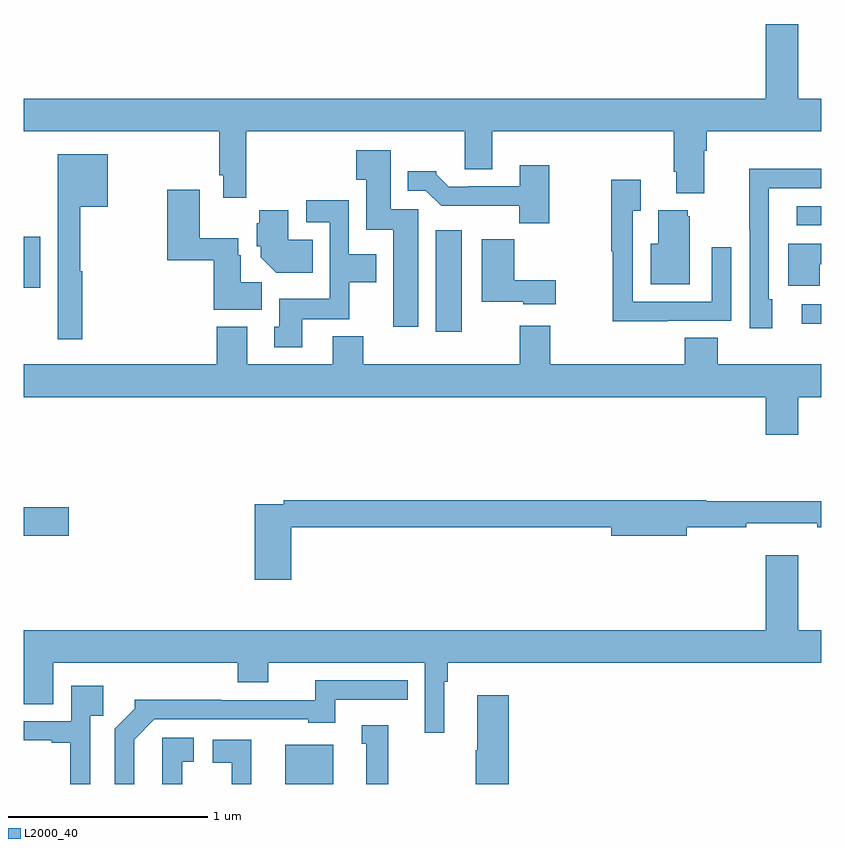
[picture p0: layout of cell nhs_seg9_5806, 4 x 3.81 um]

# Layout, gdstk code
import gdstk
lib = gdstk.Library(unit=1e-6, precision=1e-09)
def R(c, l, rs):  # rectangles x0, y0, x1, y1
    for r in rs: c.add(gdstk.rectangle(r[:2], r[2:], *l))
def P(c, l, *ps):  # polygons
    for p in ps: c.add(gdstk.Polygon(p, *l))
L2000_40 = (2000, 40)

nhs_seg9_5806 = lib.new_cell('nhs_seg9_5806')
R(nhs_seg9_5806, L2000_40, [(450.311,1174.5,450.553,1174.696), (449,1175.746,449.227,1175.888), (451.067,1176.768,451.198,1177.276), (452.901,1176.809,453,1176.906), (449,1176.989,449.083,1177.243), (452.877,1177.302,453,1177.398)])
P(nhs_seg9_5806, L2000_40, [(450.116,1177.772),(451.211,1177.772),(451.211,1177.582),(451.351,1177.582),(451.351,1177.772),(452.261,1177.772),(452.261,1177.57),(452.273,1177.57),(452.273,1177.463),(452.413,1177.463),(452.413,1177.676),(452.426,1177.676),(452.426,1177.772),(453,1177.772),(453,1177.936),(452.884,1177.936),(452.884,1178.311),(452.72,1178.311),(452.72,1177.936),(449,1177.936),(449,1177.772),(449.98,1177.772),(449.98,1177.552),(450,1177.552),(450,1177.44),(450.116,1177.44)],
  [(450.979,1177.383),(450.841,1177.383),(450.841,1177.678),(450.668,1177.678),(450.668,1177.531),(450.719,1177.531),(450.719,1177.28),(450.854,1177.28),(450.854,1176.792),(450.979,1176.792)],
  [(449.293,1177.07),(449.285,1177.07),(449.285,1177.394),(449.422,1177.394),(449.422,1177.657),(449.171,1177.657),(449.171,1176.729),(449.293,1176.729)],
  [(451.635,1177.603),(451.487,1177.603),(451.487,1177.497),(451.231,1177.497),(451.231,1177.494),(451.132,1177.494),(451.068,1177.558),(451.068,1177.573),(450.926,1177.573),(450.926,1177.476),(451.017,1177.476),(451.093,1177.4),(451.485,1177.4),(451.485,1177.313),(451.635,1177.313)],
  [(452.755,1176.93),(452.736,1176.93),(452.736,1177.234),(452.737,1177.234),(452.737,1177.488),(453,1177.488),(453,1177.586),(452.638,1177.586),(452.638,1177.279),(452.64,1177.279),(452.64,1176.786),(452.755,1176.786)],
  [(452.231,1176.822),(452.547,1176.822),(452.547,1177.192),(452.451,1177.192),(452.451,1176.918),(452.055,1176.918),(452.055,1177.375),(452.095,1177.375),(452.095,1177.531),(451.947,1177.531),(451.947,1177.172),(451.954,1177.172),(451.954,1176.821),(452.231,1176.821)],
  [(450.193,1177.016),(450.088,1177.016),(450.088,1177.152),(450.076,1177.152),(450.076,1177.237),(449.884,1177.237),(449.884,1177.48),(449.719,1177.48),(449.719,1177.127),(449.954,1177.127),(449.954,1176.878),(450.193,1176.878)],
  [(450.397,1176.83),(450.633,1176.83),(450.633,1177.016),(450.769,1177.016),(450.769,1177.156),(450.63,1177.156),(450.63,1177.426),(450.417,1177.426),(450.417,1177.317),(450.534,1177.317),(450.534,1176.934),(450.281,1176.934),(450.281,1176.792),(450.257,1176.792),(450.257,1176.69),(450.397,1176.69)],
  [(450.449,1177.228),(450.328,1177.228),(450.328,1177.378),(450.181,1177.378),(450.181,1177.311),(450.17,1177.311),(450.17,1177.197),(450.188,1177.197),(450.188,1177.142),(450.266,1177.064),(450.449,1177.064)],
  [(452.341,1177.347),(452.33,1177.347),(452.33,1177.378),(452.183,1177.378),(452.183,1177.21),(452.144,1177.21),(452.144,1177.007),(452.341,1177.007)],
  [(451.669,1177.027),(451.46,1177.027),(451.46,1177.231),(451.298,1177.231),(451.298,1176.917),(451.506,1176.917),(451.506,1176.905),(451.669,1176.905)],
  [(452.991,1177.106),(453,1177.106),(453,1177.21),(452.834,1177.21),(452.834,1176.998),(452.991,1176.998)],
  [(452.884,1176.44),(453,1176.44),(453,1176.604),(452.48,1176.604),(452.48,1176.737),(452.315,1176.737),(452.315,1176.604),(451.64,1176.604),(451.64,1176.799),(451.487,1176.799),(451.487,1176.604),(450.704,1176.604),(450.704,1176.745),(450.551,1176.745),(450.551,1176.604),(450.121,1176.604),(450.121,1176.793),(449.969,1176.793),(449.969,1176.604),(449,1176.604),(449,1176.44),(452.72,1176.44),(452.72,1176.252),(452.884,1176.252)],
  [(450.341,1175.788),(451.946,1175.788),(451.946,1175.746),(452.326,1175.746),(452.326,1175.788),(452.624,1175.788),(452.624,1175.807),(452.98,1175.807),(452.98,1175.788),(453,1175.788),(453,1175.917),(452.422,1175.917),(452.422,1175.924),(450.304,1175.924),(450.304,1175.904),(450.158,1175.904),(450.158,1175.523),(450.341,1175.523)],
  [(451.108,1175.012),(451.127,1175.012),(451.127,1175.108),(453,1175.108),(453,1175.272),(452.884,1175.272),(452.884,1175.647),(452.72,1175.647),(452.72,1175.272),(449,1175.272),(449,1174.9),(449.149,1174.9),(449.149,1175.108),(450.074,1175.108),(450.074,1175.009),(450.226,1175.009),(450.226,1175.108),(451.011,1175.108),(451.011,1174.758),(451.108,1174.758)],
  [(449.554,1174.723),(449.655,1174.824),(450.426,1174.824),(450.426,1174.808),(450.562,1174.808),(450.562,1174.923),(450.926,1174.923),(450.926,1175.019),(450.463,1175.019),(450.463,1174.92),(449.99,1174.92),(449.99,1174.922),(449.556,1174.922),(449.556,1174.877),(449.457,1174.778),(449.457,1174.5),(449.554,1174.5)],
  [(449.334,1174.841),(449.399,1174.841),(449.399,1174.993),(449.238,1174.993),(449.238,1174.815),(449,1174.815),(449,1174.719),(449.141,1174.719),(449.141,1174.707),(449.233,1174.707),(449.233,1174.5),(449.334,1174.5)],
  [(451.433,1174.945),(451.274,1174.945),(451.274,1174.67),(451.267,1174.67),(451.267,1174.5),(451.433,1174.5)],
  [(450.829,1174.795),(450.695,1174.795),(450.695,1174.701),(450.719,1174.701),(450.719,1174.5),(450.829,1174.5)],
  [(449.796,1174.611),(449.854,1174.611),(449.854,1174.732),(449.696,1174.732),(449.696,1174.5),(449.796,1174.5)],
  [(450.142,1174.722),(449.949,1174.722),(449.949,1174.606),(450.043,1174.606),(450.043,1174.5),(450.142,1174.5)])

lib.write_gds('nhs_seg9_5806.gds')
